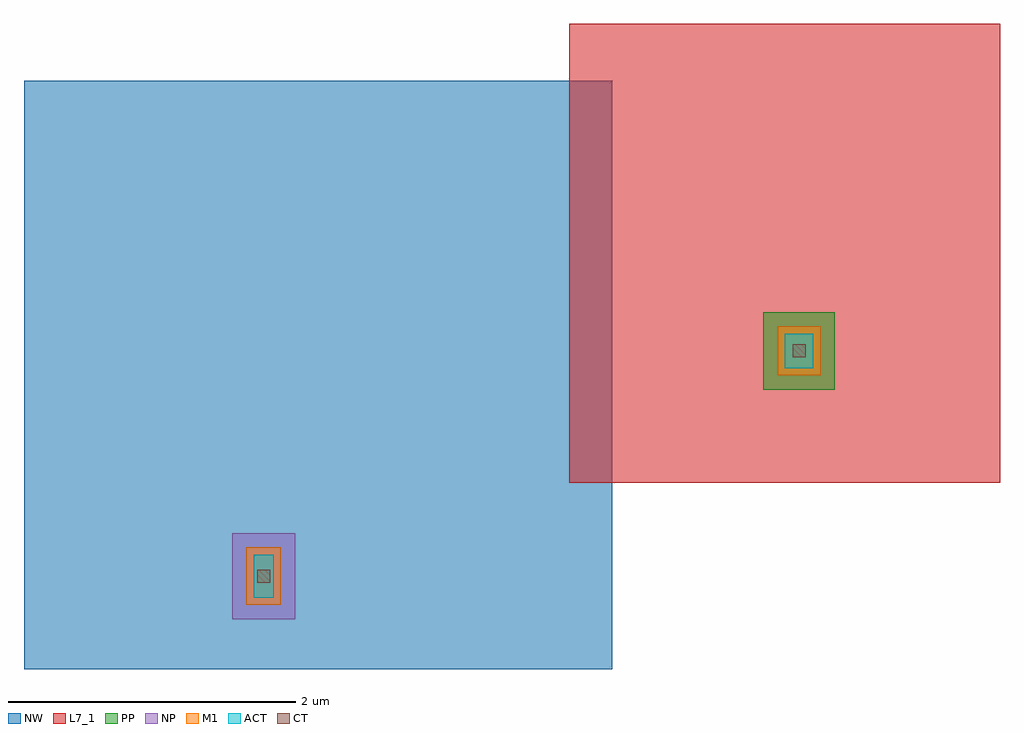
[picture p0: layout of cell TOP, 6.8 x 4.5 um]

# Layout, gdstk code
import gdstk
lib = gdstk.Library(unit=1e-6, precision=1e-09)
def R(c, l, rs):  # rectangles x0, y0, x1, y1
    for r in rs: c.add(gdstk.rectangle(r[:2], r[2:], *l))
ACT = (2, 1)
L7_1 = (7, 1)
NW = (9, 1)
NP = (52, 1)
PP = (53, 1)
CT = (72, 1)
M1 = (81, 1)

top = lib.new_cell('TOP')
R(top, ACT, [(0.5,-0.6,0.64,-0.3), (4.2,1,4.4,1.24)])
R(top, L7_1, [(2.7,0.2,5.7,3.4)])
R(top, NW, [(-1.1,-1.1,3,3)])
R(top, NP, [(0.35,-0.75,0.79,-0.15)])
R(top, PP, [(4.05,0.85,4.55,1.39)])
R(top, CT, [(0.525,-0.495,0.615,-0.405), (4.255,1.075,4.345,1.165)])
R(top, M1, [(0.45,-0.65,0.69,-0.25), (4.15,0.95,4.45,1.29)])

lib.write_gds('TOP.gds')
